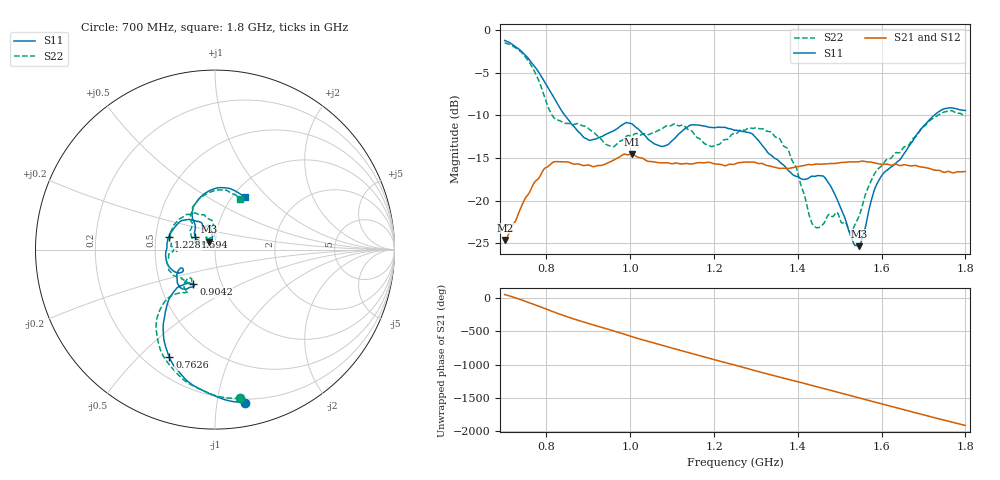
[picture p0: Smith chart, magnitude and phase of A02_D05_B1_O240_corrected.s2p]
! Created with skrf 1.9.0 (http://scikit-rf.org).
# Hz S RI R 50.0
!freq ReS11 ImS11 ReS21 ImS21 ReS12 ImS12 ReS22 ImS22
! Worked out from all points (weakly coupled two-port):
!   1601 points, 700 MHz to 1.8 GHz, reference 50 ohm
!   highest |S21| = -14.53 dB at 1.004 GHz (marker M1); lowest = -24.6 dB at 701.4 MHz (marker M2)
!   lowest |S11| = -25.3 dB at 1.546 GHz (marker M3), VSWR 1.11, Z = 46.7 + j4.1 ohm
!   |S11| at or under -10 dB: 843.9 MHz to 1.725 GHz (881.4 MHz wide, 68.6 % of centre)
!   |S22| runs from -23.8 to -1.5 dB; largest |S21 - S12| = 0.0036
!   S11 on the Smith chart (normalised r, x): 700 MHz: 0.17, -1.20; 762.6 MHz: 0.30, -0.62; 904.2 MHz: 0.74, -0.30; 1.228 GHz: 0.58, +0.09; 1.594 GHz: 0.79, +0.12; 1.8 GHz: 1.13, +0.75
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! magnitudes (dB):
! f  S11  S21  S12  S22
! 700 MHz  -1.2  -24.6  -24.4  -1.5
! 701.4 MHz  -1.2  -24.6  -24.2  -1.5
! 762.6 MHz  -3.7  -18.7  -18.7  -4.1
! 817.6 MHz  -7.9  -15.5  -15.6  -10.3
! 883.6 MHz  -12.3  -15.8  -15.7  -11.2
! 904.2 MHz  -12.9  -15.9  -15.9  -11.7
! 955.8 MHz  -11.9  -15.4  -15.4  -13.7
! 1.004 GHz  -11.0  -14.5  -14.7  -12.4
! 1.067 GHz  -13.5  -15.5  -15.5  -11.8
! 1.145 GHz  -11.1  -15.7  -15.7  -11.8
! 1.228 GHz  -11.4  -15.9  -15.8  -12.8
! 1.25 GHz  -11.7  -15.7  -15.6  -12.2
! 1.357 GHz  -15.5  -16.2  -16.2  -12.7
! 1.396 GHz  -17.1  -16.1  -16.0  -16.1
! 1.434 GHz  -17.1  -15.8  -15.8  -22.6
! 1.471 GHz  -17.7  -15.7  -15.7  -21.8
! 1.526 GHz  -24.1  -15.5  -15.4  -23.8
! 1.546 GHz  -25.3  -15.4  -15.4  -21.8
! 1.594 GHz  -17.5  -15.7  -15.7  -16.2
! 1.617 GHz  -16.3  -15.8  -15.7  -15.1
! 1.732 GHz  -9.7  -16.4  -16.5  -10.1
! 1.8 GHz  -9.4  -16.6  -16.6  -10.1
